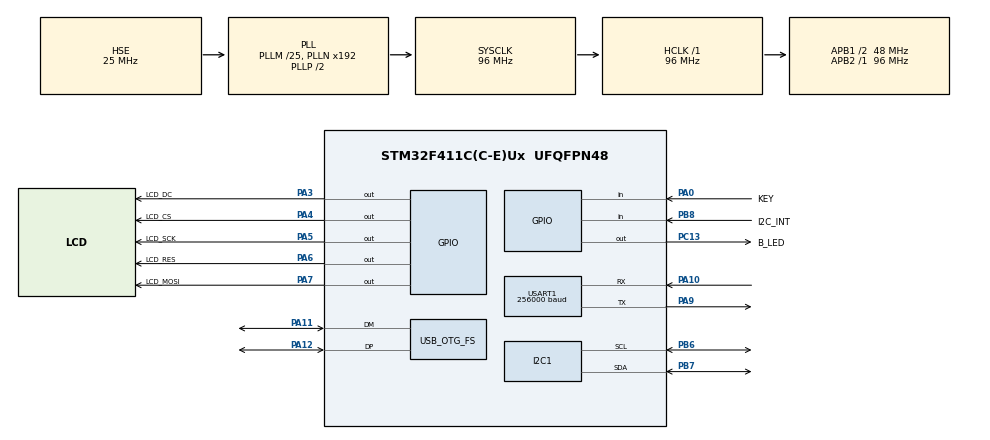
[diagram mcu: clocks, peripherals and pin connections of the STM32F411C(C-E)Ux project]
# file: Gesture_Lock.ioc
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I2C1.I2C_Mode=I2C_Fast
Mcu.Family=STM32F4
Mcu.Name=STM32F411C(C-E)Ux
Mcu.Package=UFQFPN48
NVIC.FPU_IRQn=true\:0\:0\:false\:false\:true\:true\:false
NVIC.OTG_FS_IRQn=true\:0\:0\:false\:false\:true\:false\:true
NVIC.PriorityGroup=NVIC_PRIORITYGROUP_4
NVIC.TIM2_IRQn=true\:0\:0\:false\:false\:true\:true\:true
PA0-WKUP.GPIO_Label=KEY
PA0-WKUP.GPIO_PuPd=GPIO_PULLUP
PA0-WKUP.Signal=GPIO_Input
PA10.GPIO_Speed=GPIO_SPEED_FREQ_VERY_HIGH
PA10.Mode=Asynchronous
PA10.Signal=USART1_RX
PA11.Mode=Device_Only
PA11.Signal=USB_OTG_FS_DM
PA12.Mode=Device_Only
PA12.Signal=USB_OTG_FS_DP
PA13.Mode=Trace_Asynchronous_SW
PA13.Signal=SYS_JTMS-SWDIO
PA14.Mode=Trace_Asynchronous_SW
PA14.Signal=SYS_JTCK-SWCLK
PA3.GPIO_Label=LCD_DC
PA3.GPIO_Speed=GPIO_SPEED_FREQ_VERY_HIGH
PA3.PinState=GPIO_PIN_SET
PA3.Signal=GPIO_Output
PA4.GPIO_Label=LCD_CS
PA4.GPIO_Speed=GPIO_SPEED_FREQ_VERY_HIGH
PA4.PinState=GPIO_PIN_SET
PA4.Signal=GPIO_Output
PA5.GPIO_Label=LCD_SCK
PA5.GPIO_Speed=GPIO_SPEED_FREQ_VERY_HIGH
PA5.PinState=GPIO_PIN_SET
PA5.Signal=GPIO_Output
PA6.GPIO_Label=LCD_RES
PA6.GPIO_Speed=GPIO_SPEED_FREQ_VERY_HIGH
PA6.PinState=GPIO_PIN_SET
PA6.Signal=GPIO_Output
PA7.GPIO_Label=LCD_MOSI
PA7.GPIO_Speed=GPIO_SPEED_FREQ_VERY_HIGH
PA7.PinState=GPIO_PIN_SET
PA7.Signal=GPIO_Output
PA9.GPIO_Speed=GPIO_SPEED_FREQ_VERY_HIGH
PA9.Mode=Asynchronous
PA9.Signal=USART1_TX
PB3.Mode=Trace_Asynchronous_SW
PB3.Signal=SYS_JTDO-SWO
PB6.Mode=I2C
PB6.Signal=I2C1_SCL
PB7.Mode=I2C
PB7.Signal=I2C1_SDA
PB8.GPIO_Label=I2C_INT
PB8.Signal=GPIO_Input
PC13-ANTI_TAMP.GPIO_Label=B_LED
PC13-ANTI_TAMP.Signal=GPIO_Output
PC14-OSC32_IN.Mode=LSE-External-Oscillator
PC14-OSC32_IN.Signal=RCC_OSC32_IN
PC15-OSC32_OUT.Mode=LSE-External-Oscillator
PC15-OSC32_OUT.Signal=RCC_OSC32_OUT
PH0\ -\ OSC_IN.Mode=HSE-External-Oscillator
PH0\ -\ OSC_IN.Signal=RCC_OSC_IN
PH1\ -\ OSC_OUT.Mode=HSE-External-Oscillator
PH1\ -\ OSC_OUT.Signal=RCC_OSC_OUT
ProjectManager.HeapSize=0x800
ProjectManager.StackSize=0x800
ProjectManager.TargetToolchain=MDK-ARM V5.27
RCC.48MHZClocksFreq_Value=48000000
RCC.AHBFreq_Value=96000000
RCC.APB1CLKDivider=RCC_HCLK_DIV2
RCC.APB1Freq_Value=48000000
RCC.APB1TimFreq_Value=96000000
RCC.APB2Freq_Value=96000000
RCC.APB2TimFreq_Value=96000000
RCC.CortexFreq_Value=96000000
RCC.HCLKFreq_Value=96000000
RCC.HSE_VALUE=25000000
RCC.HSI_VALUE=16000000
RCC.PLLI2SM=25
RCC.PLLM=25
RCC.SYSCLKFreq_VALUE=96000000
RCC.SYSCLKSource=RCC_SYSCLKSOURCE_PLLCLK
RCC.VCOOutputFreq_Value=192000000
TIM2.AutoReloadPreload=TIM_AUTORELOAD_PRELOAD_ENABLE
TIM2.ClockDivision=TIM_CLOCKDIVISION_DIV1
TIM2.CounterMode=TIM_COUNTERMODE_DOWN
TIM2.Period=9800
TIM2.Prescaler=960
USART1.BaudRate=256000
USART1.VirtualMode=VM_ASYNC
USB_DEVICE.CLASS_NAME_FS=CDC
USB_DEVICE.VirtualMode=Cdc
USB_DEVICE.VirtualModeFS=Cdc_FS
USB_OTG_FS.VirtualMode=Device_Only
VP_TIM2_VS_ClockSourceINT.Mode=Internal
VP_USB_DEVICE_VS_USB_DEVICE_CDC_FS.Mode=CDC_FS
board=custom

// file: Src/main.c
/* USER CODE BEGIN Header */
/**
  ******************************************************************************
  * @file           : main.c
  * @brief          : Main program body
  ******************************************************************************
  * @attention
  *
  * <h2><center>&copy; Copyright (c) 2020 STMicroelectronics.
  * All rights reserved.</center></h2>
  *
  * This software component is licensed by ST under Ultimate Liberty license
  * SLA0044, the "License"; You may not use this file except in compliance with
  * the License. You may obtain a copy of the License at:
  *                             www.st.com/SLA0044
  *
  ******************************************************************************
  */
/* USER CODE END Header */

#include "main.h"
#include "i2c.h"
#include "tim.h"
#include "usart.h"
#include "usb_device.h"
#include "gpio.h"

/* USER CODE BEGIN Includes */
#include "usbd_cdc_if.h"
#include "oled.h"
#include "mpu6050.h"
#include "inv_mpu.h"
#include "inv_mpu_dmp_motion_driver.h"
#include "serial_debug.h"
#include "state_machine.h"
/* USER CODE END Includes */

/* USER CODE BEGIN PV */
volatile MPU_Data_t mpu_data;

/* USER CODE END PV */

void SystemClock_Config(void);

int main(void)
{

  /* MCU Configuration--------------------------------------------------------*/

  /* Reset of all peripherals, Initializes the Flash interface and the Systick. */
  HAL_Init();

  /* Configure the system clock */
  SystemClock_Config();

  /* Initialize all configured peripherals */
  MX_GPIO_Init();
  MX_USART1_UART_Init();
  MX_USB_DEVICE_Init();
  MX_I2C1_Init();
  MX_TIM2_Init();
  /* USER CODE BEGIN 2 */
	HAL_TIM_Base_Stop(&htim2);
	HAL_Delay(500);//for usb set up
	OLED_Init();
	while(mpu_dmp_init())//MPU DMP初始化
	{
	  printf("MPU6050 Error!!!\r\n");
		HAL_I2C_DeInit(&hi2c1);
		MX_I2C1_Init();
		HAL_Delay(500);
		HAL_GPIO_TogglePin(B_LED_GPIO_Port, B_LED_Pin);

	}
  printf("MPU6050 OK\r\n");
	//usb_printf("MPU6050 OK\r\n");
	OLED_Clear();
	OLED_ShowString(0,0,"MPU6050 OK");
	OLED_ShowString(0,2,"Wait init...");
	HAL_Delay(5000);//for MPU data stable
	OLED_ShowString(0,4,"Ready");
	HAL_Delay(1000);
	State_Machine_Init();
	HAL_TIM_Base_Start_IT(&htim2);//timer start
  /* USER CODE END 2 */

  /* Infinite loop */
  while (1)
  {

    /* USER CODE BEGIN 3 */

		/*main program*/
		State_Update_Main();
  }
  /* USER CODE END 3 */
}

void SystemClock_Config(void)
{
  RCC_OscInitTypeDef RCC_OscInitStruct = {0};
  RCC_ClkInitTypeDef RCC_ClkInitStruct = {0};

  /** Configure the main internal regulator output voltage
  */
  __HAL_RCC_PWR_CLK_ENABLE();
  __HAL_PWR_VOLTAGESCALING_CONFIG(PWR_REGULATOR_VOLTAGE_SCALE1);
  /** Initializes the CPU, AHB and APB busses clocks
  */
  RCC_OscInitStruct.OscillatorType = RCC_OSCILLATORTYPE_HSE;
  RCC_OscInitStruct.HSEState = RCC_HSE_ON;
  RCC_OscInitStruct.PLL.PLLState = RCC_PLL_ON;
  RCC_OscInitStruct.PLL.PLLSource = RCC_PLLSOURCE_HSE;
  RCC_OscInitStruct.PLL.PLLM = 25;
  RCC_OscInitStruct.PLL.PLLN = 192;
  RCC_OscInitStruct.PLL.PLLP = RCC_PLLP_DIV2;
  RCC_OscInitStruct.PLL.PLLQ = 4;
  if (HAL_RCC_OscConfig(&RCC_OscInitStruct) != HAL_OK)
  {
    Error_Handler();
  }
  /** Initializes the CPU, AHB and APB busses clocks
  */
  RCC_ClkInitStruct.ClockType = RCC_CLOCKTYPE_HCLK|RCC_CLOCKTYPE_SYSCLK
                              |RCC_CLOCKTYPE_PCLK1|RCC_CLOCKTYPE_PCLK2;
  RCC_ClkInitStruct.SYSCLKSource = RCC_SYSCLKSOURCE_PLLCLK;
  RCC_ClkInitStruct.AHBCLKDivider = RCC_SYSCLK_DIV1;
  RCC_ClkInitStruct.APB1CLKDivider = RCC_HCLK_DIV2;
  RCC_ClkInitStruct.APB2CLKDivider = RCC_HCLK_DIV1;

  if (HAL_RCC_ClockConfig(&RCC_ClkInitStruct, FLASH_LATENCY_3) != HAL_OK)
  {
    Error_Handler();
  }
}

void Error_Handler(void)
{
}

/************************ (C) COPYRIGHT STMicroelectronics *****END OF FILE****/
